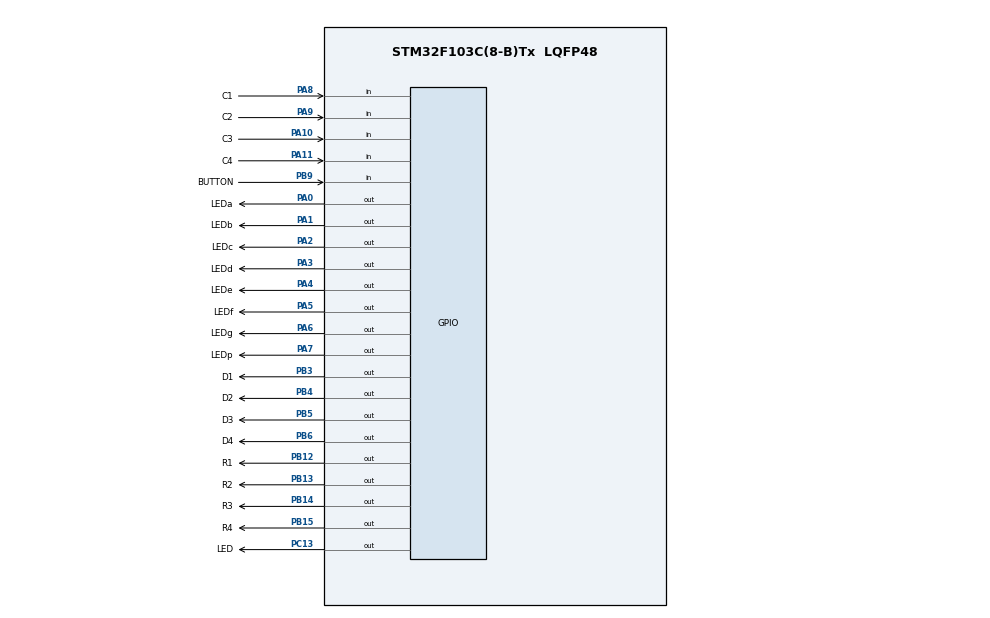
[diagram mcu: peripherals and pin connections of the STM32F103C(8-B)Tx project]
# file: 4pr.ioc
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Mcu.Family=STM32F1
Mcu.Name=STM32F103C(8-B)Tx
Mcu.Package=LQFP48
NVIC.PriorityGroup=NVIC_PRIORITYGROUP_4
NVIC.TIM2_IRQn=true\:0\:0\:false\:false\:true\:true\:true\:true
PA0-WKUP.GPIO_Label=LEDa
PA0-WKUP.Signal=GPIO_Output
PA1.GPIO_Label=LEDb
PA1.Signal=GPIO_Output
PA10.GPIO_Label=C3
PA10.GPIO_PuPd=GPIO_PULLUP
PA10.Signal=GPIO_Input
PA11.GPIO_Label=C4
PA11.GPIO_PuPd=GPIO_PULLUP
PA11.Signal=GPIO_Input
PA13.Mode=Serial_Wire
PA13.Signal=SYS_JTMS-SWDIO
PA14.Mode=Serial_Wire
PA14.Signal=SYS_JTCK-SWCLK
PA2.GPIO_Label=LEDc
PA2.Signal=GPIO_Output
PA3.GPIO_Label=LEDd
PA3.Signal=GPIO_Output
PA4.GPIO_Label=LEDe
PA4.Signal=GPIO_Output
PA5.GPIO_Label=LEDf
PA5.Signal=GPIO_Output
PA6.GPIO_Label=LEDg
PA6.Signal=GPIO_Output
PA7.GPIO_Label=LEDp
PA7.Signal=GPIO_Output
PA8.GPIO_Label=C1
PA8.GPIO_PuPd=GPIO_PULLUP
PA8.Signal=GPIO_Input
PA9.GPIO_Label=C2
PA9.GPIO_PuPd=GPIO_PULLUP
PA9.Signal=GPIO_Input
PB12.GPIO_Label=R1
PB12.Signal=GPIO_Output
PB13.GPIO_Label=R2
PB13.Signal=GPIO_Output
PB14.GPIO_Label=R3
PB14.Signal=GPIO_Output
PB15.GPIO_Label=R4
PB15.Signal=GPIO_Output
PB3.GPIO_Label=D1
PB3.Signal=GPIO_Output
PB4.GPIO_Label=D2
PB4.Signal=GPIO_Output
PB5.GPIO_Label=D3
PB5.Signal=GPIO_Output
PB6.GPIO_Label=D4
PB6.Signal=GPIO_Output
PB9.GPIO_Label=BUTTON
PB9.GPIO_PuPd=GPIO_PULLUP
PB9.Signal=GPIO_Input
PC13-TAMPER-RTC.GPIO_Label=LED
PC13-TAMPER-RTC.Signal=GPIO_Output
PD0-OSC_IN.Mode=HSE-External-Oscillator
PD0-OSC_IN.Signal=RCC_OSC_IN
PD1-OSC_OUT.Mode=HSE-External-Oscillator
PD1-OSC_OUT.Signal=RCC_OSC_OUT
ProjectManager.HeapSize=0x200
ProjectManager.StackSize=0x400
ProjectManager.TargetToolchain=Makefile
RCC.APB1Freq_Value=8000000
RCC.APB2Freq_Value=8000000
TIM2.Period=999
TIM2.Prescaler=7199
VP_TIM2_VS_ClockSourceINT.Mode=Internal
board=custom

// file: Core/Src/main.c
/* USER CODE BEGIN Header */
/**
  ******************************************************************************
  * @file           : main.c
  * @brief          : Main program body
  ******************************************************************************
  * @attention
  *
  * Copyright (c) 2024 STMicroelectronics.
  * All rights reserved.
  *
  * This software is licensed under terms that can be found in the LICENSE file
  * in the root directory of this software component.
  * If no LICENSE file comes with this software, it is provided AS-IS.
  *
  ******************************************************************************
  */
/* USER CODE END Header */
#include "main.h"

/* USER CODE BEGIN Includes */
//!
#include "keypad.h"
#include "led7display4digit.h"
/* USER CODE END Includes */

TIM_HandleTypeDef htim2;

void SystemClock_Config(void);
static void MX_GPIO_Init(void);
static void MX_TIM2_Init(void);
/* USER CODE BEGIN PFP */
//!
void tim2tick();
/* USER CODE END PFP */

/* USER CODE BEGIN 0 */
volatile int8_t hours = 0;
volatile int8_t minutes = 59;
volatile int8_t seconds = 55;

volatile uint8_t keyCount = 0;
volatile uint32_t tick_count = 0;
/* USER CODE END 0 */

int main(void)
{

  /* MCU Configuration--------------------------------------------------------*/

  /* Reset of all peripherals, Initializes the Flash interface and the Systick. */
  HAL_Init();

  /* Configure the system clock */
  SystemClock_Config();

  /* Initialize all configured peripherals */
  MX_GPIO_Init();
  MX_TIM2_Init();
  /* USER CODE BEGIN 2 */
  //!
  HAL_TIM_Base_Start_IT(&htim2);
  HAL_GPIO_WritePin(LED_GPIO_Port, LED_Pin, 1);
  displayNumber(7);
  /* USER CODE END 2 */
  /* Infinite loop */
  /* USER CODE BEGIN WHILE */
  // int numberRandom = 0;
  while (1)
  {
  //   HAL_Delay(100);
  // if(++numberRandom>9)numberRandom=0;
  // displayNumber(numberRandom);
    /* USER CODE END WHILE */

  }
}

void SystemClock_Config(void)
{
  RCC_OscInitTypeDef RCC_OscInitStruct = {0};
  RCC_ClkInitTypeDef RCC_ClkInitStruct = {0};

  /** Initializes the RCC Oscillators according to the specified parameters
  * in the RCC_OscInitTypeDef structure.
  */
  RCC_OscInitStruct.OscillatorType = RCC_OSCILLATORTYPE_HSI;
  RCC_OscInitStruct.HSIState = RCC_HSI_ON;
  RCC_OscInitStruct.HSICalibrationValue = RCC_HSICALIBRATION_DEFAULT;
  RCC_OscInitStruct.PLL.PLLState = RCC_PLL_NONE;
  if (HAL_RCC_OscConfig(&RCC_OscInitStruct) != HAL_OK)
  {
    Error_Handler();
  }

  /** Initializes the CPU, AHB and APB buses clocks
  */
  RCC_ClkInitStruct.ClockType = RCC_CLOCKTYPE_HCLK|RCC_CLOCKTYPE_SYSCLK
                              |RCC_CLOCKTYPE_PCLK1|RCC_CLOCKTYPE_PCLK2;
  RCC_ClkInitStruct.SYSCLKSource = RCC_SYSCLKSOURCE_HSI;
  RCC_ClkInitStruct.AHBCLKDivider = RCC_SYSCLK_DIV1;
  RCC_ClkInitStruct.APB1CLKDivider = RCC_HCLK_DIV1;
  RCC_ClkInitStruct.APB2CLKDivider = RCC_HCLK_DIV1;

  if (HAL_RCC_ClockConfig(&RCC_ClkInitStruct, FLASH_LATENCY_0) != HAL_OK)
  {
    Error_Handler();
  }
}

static void MX_TIM2_Init(void)
{

  TIM_ClockConfigTypeDef sClockSourceConfig = {0};
  TIM_MasterConfigTypeDef sMasterConfig = {0};

  htim2.Instance = TIM2;
  htim2.Init.Prescaler = 7206;
  // htim2.Init.Prescaler = 7199;
  htim2.Init.CounterMode = TIM_COUNTERMODE_UP;
  htim2.Init.Period = 999;
  // htim2.Init.Period = 1;
  htim2.Init.ClockDivision = TIM_CLOCKDIVISION_DIV1;
  htim2.Init.AutoReloadPreload = TIM_AUTORELOAD_PRELOAD_DISABLE;
  if (HAL_TIM_Base_Init(&htim2) != HAL_OK)
  {
    Error_Handler();
  }
  sClockSourceConfig.ClockSource = TIM_CLOCKSOURCE_INTERNAL;
  if (HAL_TIM_ConfigClockSource(&htim2, &sClockSourceConfig) != HAL_OK)
  {
    Error_Handler();
  }
  sMasterConfig.MasterOutputTrigger = TIM_TRGO_RESET;
  sMasterConfig.MasterSlaveMode = TIM_MASTERSLAVEMODE_DISABLE;
  if (HAL_TIMEx_MasterConfigSynchronization(&htim2, &sMasterConfig) != HAL_OK)
  {
    Error_Handler();
  }

}

static void MX_GPIO_Init(void)
{
  GPIO_InitTypeDef GPIO_InitStruct = {0};

  /* GPIO Ports Clock Enable */
  __HAL_RCC_GPIOC_CLK_ENABLE();
  __HAL_RCC_GPIOD_CLK_ENABLE();
  __HAL_RCC_GPIOA_CLK_ENABLE();
  __HAL_RCC_GPIOB_CLK_ENABLE();

  /*Configure GPIO pin Output Level */
  HAL_GPIO_WritePin(LED_GPIO_Port, LED_Pin, GPIO_PIN_RESET);

  /*Configure GPIO pin Output Level */
  HAL_GPIO_WritePin(GPIOA, LEDa_Pin|LEDb_Pin|LEDc_Pin|LEDd_Pin
                          |LEDe_Pin|LEDf_Pin|LEDg_Pin|LEDp_Pin, GPIO_PIN_RESET);

  /*Configure GPIO pin Output Level */
  HAL_GPIO_WritePin(GPIOB, R1_Pin|R2_Pin|R3_Pin|R4_Pin
                          |D1_Pin|D2_Pin|D3_Pin|D4_Pin, GPIO_PIN_RESET);

  /*Configure GPIO pin : LED_Pin */
  GPIO_InitStruct.Pin = LED_Pin;
  GPIO_InitStruct.Mode = GPIO_MODE_OUTPUT_PP;
  GPIO_InitStruct.Pull = GPIO_NOPULL;
  GPIO_InitStruct.Speed = GPIO_SPEED_FREQ_LOW;
  HAL_GPIO_Init(LED_GPIO_Port, &GPIO_InitStruct);

  /*Configure GPIO pins : LEDa_Pin LEDb_Pin LEDc_Pin LEDd_Pin
                           LEDe_Pin LEDf_Pin LEDg_Pin LEDp_Pin */
  GPIO_InitStruct.Pin = LEDa_Pin|LEDb_Pin|LEDc_Pin|LEDd_Pin
                          |LEDe_Pin|LEDf_Pin|LEDg_Pin|LEDp_Pin;
  GPIO_InitStruct.Mode = GPIO_MODE_OUTPUT_PP;
  GPIO_InitStruct.Pull = GPIO_NOPULL;
  GPIO_InitStruct.Speed = GPIO_SPEED_FREQ_LOW;
  HAL_GPIO_Init(GPIOA, &GPIO_InitStruct);

  /*Configure GPIO pins : R1_Pin R2_Pin R3_Pin R4_Pin
                           D1_Pin D2_Pin D3_Pin D4_Pin */
  GPIO_InitStruct.Pin = R1_Pin|R2_Pin|R3_Pin|R4_Pin
                          |D1_Pin|D2_Pin|D3_Pin|D4_Pin;
  GPIO_InitStruct.Mode = GPIO_MODE_OUTPUT_PP;
  GPIO_InitStruct.Pull = GPIO_NOPULL;
  GPIO_InitStruct.Speed = GPIO_SPEED_FREQ_LOW;
  HAL_GPIO_Init(GPIOB, &GPIO_InitStruct);

  /*Configure GPIO pins : C1_Pin C2_Pin C3_Pin C4_Pin */
  GPIO_InitStruct.Pin = C1_Pin|C2_Pin|C3_Pin|C4_Pin;
  GPIO_InitStruct.Mode = GPIO_MODE_INPUT;
  GPIO_InitStruct.Pull = GPIO_PULLUP;
  HAL_GPIO_Init(GPIOA, &GPIO_InitStruct);

  /*Configure GPIO pin : BUTTON_Pin */
  GPIO_InitStruct.Pin = BUTTON_Pin;
  GPIO_InitStruct.Mode = GPIO_MODE_INPUT;
  GPIO_InitStruct.Pull = GPIO_PULLUP;
  HAL_GPIO_Init(BUTTON_GPIO_Port, &GPIO_InitStruct);

}

/* USER CODE BEGIN 4 */
//!
// Додатково підключити до мікроконтролера кнопку. Написати програму, в якій після натискання
// на клавіатурі на кнопку "А" на семисегментний індикатор починає кожні 100 мc виводитись
// випадкове число в діапазоні від 0 до 9. У разі короткого натискання на підключену додаткову
// кнопку генерація чисел припиняється, за користувацький світлодіод має блимнути стільки разів,
// скільки показано на індикаторі. Натискання кнопки "В" на клавіатурі має запускати блимання
// світлодіода повторно. Довге натискання на підключену додаткову кнопку має запускати генерацію
// заново. Використовувати функцию  заборонено.

char key_pressed = 0;

uint8_t isRandomMode = 1;

uint8_t numberRandom = 0;
uint8_t blinkCount = 0;

uint8_t buttonState = 0;
uint16_t buttonTick = 0;

uint16_t tickCustom = 0;

void tim2tick(){

  buttonState = !HAL_GPIO_ReadPin(BUTTON_GPIO_Port, BUTTON_Pin);
  if(buttonState)  buttonTick++;
  else if(buttonTick){
    if(buttonTick > 400){
      isRandomMode = 0;
      blinkCount = numberRandom*2;
    } else isRandomMode = 1;
    buttonTick = 0;
  }

  key_pressed = read_keypad();
  if(key_pressed == 'B'){
    isRandomMode = 0;
    blinkCount = numberRandom*2;
  } else if(key_pressed == 'A') isRandomMode = 1;

  if(++tickCustom<200) return; tickCustom=0;

  if(isRandomMode){
    numberRandom = (HAL_GetTick()/2+1) % 10; //типу rand
    displayNumber(numberRandom);
  } else if(blinkCount){
    blinkCount--;
    HAL_GPIO_TogglePin(LED_GPIO_Port, LED_Pin);
  } else HAL_GPIO_WritePin(LED_GPIO_Port, LED_Pin, 1);

}

/* USER CODE END 4 */

void Error_Handler(void)
{
  __disable_irq();
  while (1)
  {
  }
}
